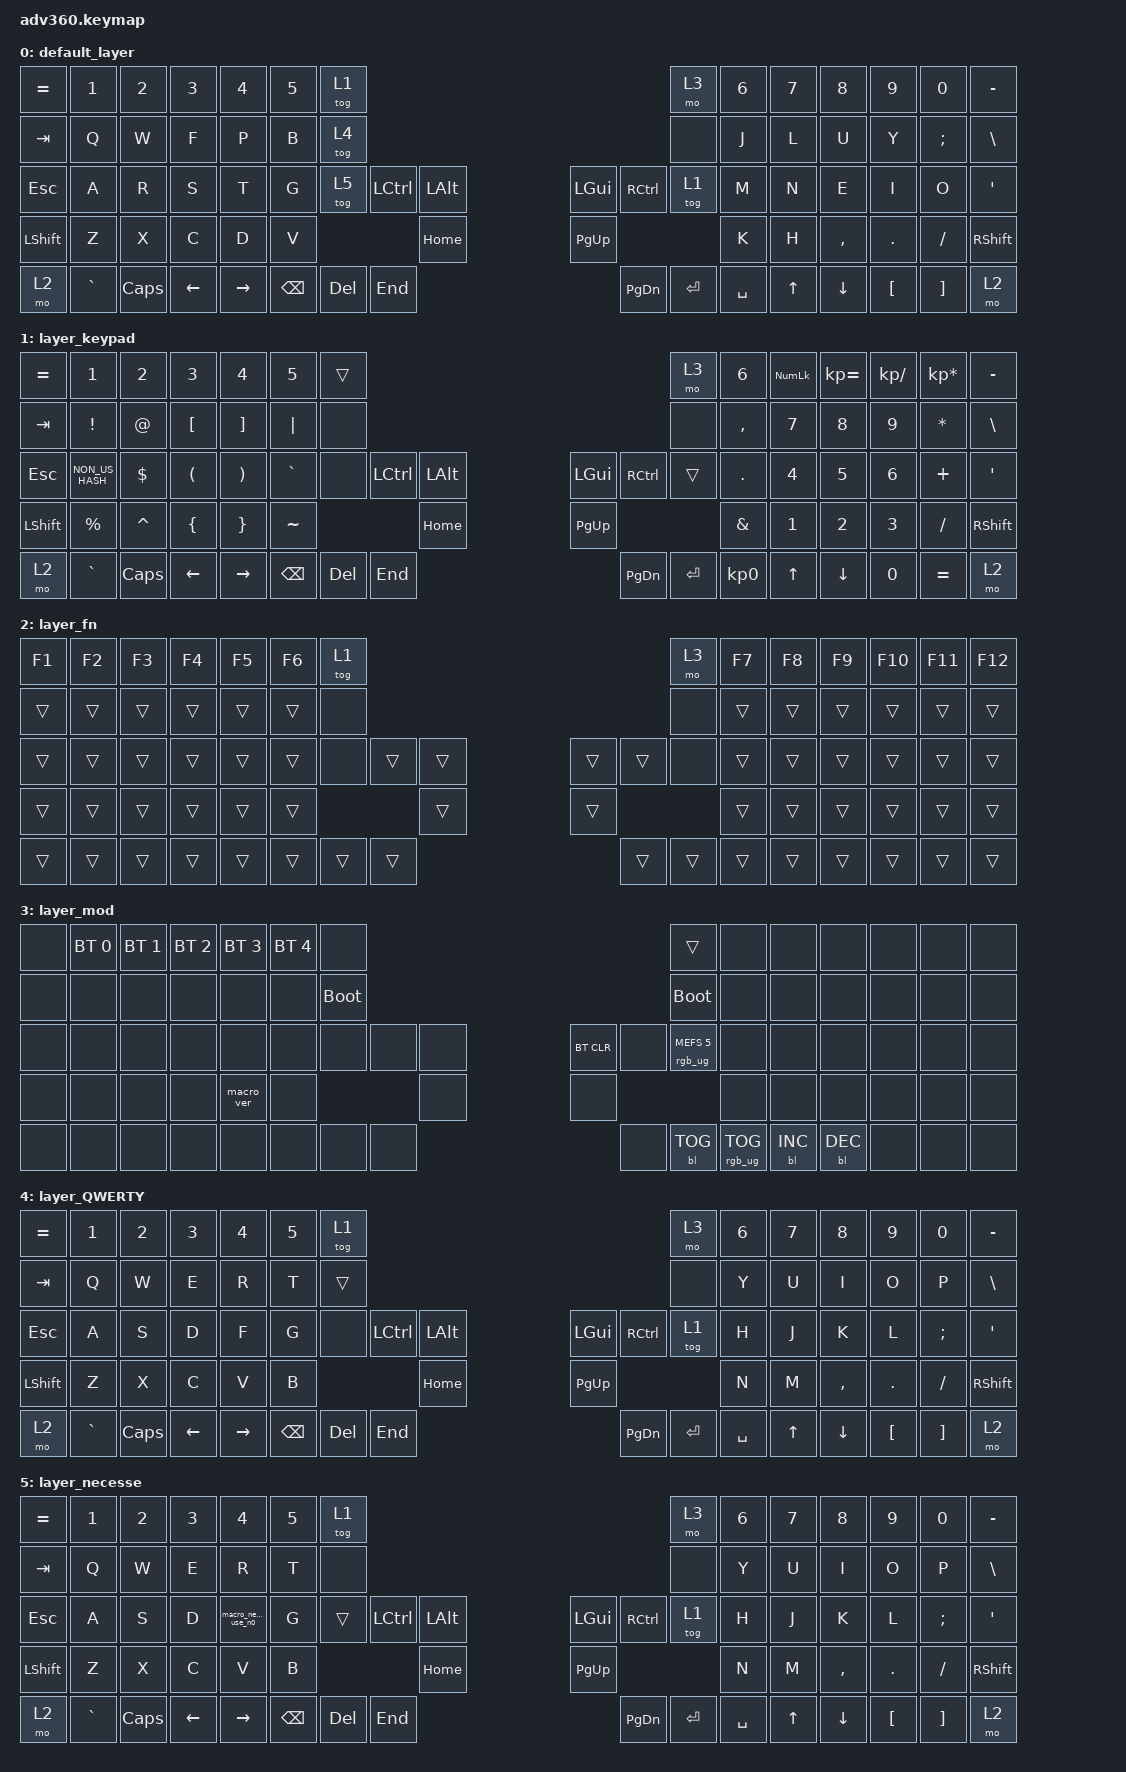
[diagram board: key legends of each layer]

/*
 * Copyright (c) 2020 The ZMK Contributors
 *
 * SPDX-License-Identifier: MIT
 */


/* THIS FILE WAS GENERATED!
 *
 * This file was generated automatically. You may or may not want to
 * edit it directly.
 */

#include <behaviors.dtsi>
#include <dt-bindings/zmk/backlight.h>
#include <dt-bindings/zmk/bt.h>
#include <dt-bindings/zmk/keys.h>
#include <dt-bindings/zmk/mouse.h>
#include <dt-bindings/zmk/rgb.h>

/ {
  behaviors {
    #include "macros.dtsi"
    #include "version.dtsi"

    hm: homerow_mods {
        compatible = "zmk,behavior-hold-tap";
        label = "HOMEROW_MODS";
        #binding-cells = <2>;
        tapping-term-ms = <200>;
        quick_tap_ms = <175>;
        flavor = "tap-preferred";
        bindings = <&kp>, <&kp>;
    };
  };

    keymap {
        compatible = "zmk,keymap";


        default_layer {
            bindings = <
 &kp EQUAL     &kp N1    &kp N2    &kp N3     &kp N4  &kp N5              &tog 1                                                                 &mo 3  &kp N6  &kp N7     &kp N8    &kp N9    &kp N0  &kp MINUS
   &kp TAB      &kp Q     &kp W     &kp F      &kp P   &kp B              &tog 4                                                                 &none   &kp J   &kp L      &kp U     &kp Y  &kp SEMI   &kp BSLH
   &kp ESC      &kp A     &kp R     &kp S      &kp T   &kp G              &tog 5  &kp LCTRL  &kp LALT                   &kp LGUI  &kp RCTRL     &tog 1   &kp M   &kp N      &kp E     &kp I     &kp O    &kp SQT
 &kp LSHFT      &kp Z     &kp X     &kp C      &kp D   &kp V                                 &kp HOME                  &kp PG_UP                         &kp K   &kp H  &kp COMMA   &kp DOT  &kp FSLH  &kp RSHFT
     &mo 2  &kp GRAVE  &kp CAPS  &kp LEFT  &kp RIGHT                    &kp BSPC    &kp DEL   &kp END                  &kp PG_DN  &kp ENTER  &kp SPACE          &kp UP   &kp DOWN  &kp LBKT  &kp RBKT      &mo 2
            >;
        };

        layer_keypad {
            bindings = <
 &kp EQUAL           &kp N1      &kp N2                &kp N3                 &kp N4     &kp N5              &trans                                                                 &mo 3         &kp N6    &kp KP_NUM    &kp KP_EQUAL  &kp KP_DIVIDE  &kp KP_MULTIPLY  &kp MINUS
   &kp TAB  &kp EXCLAMATION      &kp AT      &kp LEFT_BRACKET      &kp RIGHT_BRACKET   &kp PIPE               &none                                                                 &none      &kp COMMA  &kp NUMBER_7    &kp NUMBER_8   &kp NUMBER_9         &kp STAR   &kp BSLH
   &kp ESC  &kp NON_US_HASH  &kp DOLLAR  &kp LEFT_PARENTHESIS  &kp RIGHT_PARENTHESIS  &kp GRAVE               &none  &kp LCTRL  &kp LALT                   &kp LGUI  &kp RCTRL     &trans        &kp DOT  &kp NUMBER_4    &kp NUMBER_5   &kp NUMBER_6         &kp PLUS    &kp SQT
 &kp LSHFT      &kp PERCENT   &kp CARET        &kp LEFT_BRACE        &kp RIGHT_BRACE  &kp TILDE                                 &kp HOME                  &kp PG_UP                        &kp AMPERSAND  &kp NUMBER_1    &kp NUMBER_2   &kp NUMBER_3        &kp SLASH  &kp RSHFT
     &mo 2        &kp GRAVE    &kp CAPS              &kp LEFT              &kp RIGHT                       &kp BSPC    &kp DEL   &kp END                  &kp PG_DN  &kp ENTER  &kp KP_N0                 &kp UP_ARROW  &kp DOWN_ARROW   &kp NUMBER_0        &kp EQUAL      &mo 2
            >;
        };

        layer_fn {
            bindings = <
 &kp F1  &kp F2  &kp F3  &kp F4  &kp F5  &kp F6            &tog 1                                                   &mo 3  &kp F7  &kp F8  &kp F9  &kp F10  &kp F11  &kp F12
 &trans  &trans  &trans  &trans  &trans  &trans             &none                                                   &none  &trans  &trans  &trans   &trans   &trans   &trans
 &trans  &trans  &trans  &trans  &trans  &trans             &none  &trans  &trans                  &trans  &trans   &none  &trans  &trans  &trans   &trans   &trans   &trans
 &trans  &trans  &trans  &trans  &trans  &trans                            &trans                  &trans                  &trans  &trans  &trans   &trans   &trans   &trans
 &trans  &trans  &trans  &trans  &trans                    &trans  &trans  &trans                  &trans  &trans  &trans          &trans  &trans   &trans   &trans   &trans
            >;
        };

        layer_mod {
            bindings = <
  &none  &bt BT_SEL 0  &bt BT_SEL 1  &bt BT_SEL 2  &bt BT_SEL 3  &bt BT_SEL 4                  &none                                                                          &trans   &none       &none       &none   &none   &none   &none
  &none         &none         &none         &none         &none         &none            &bootloader                                                                     &bootloader   &none       &none       &none   &none   &none   &none
  &none         &none         &none         &none         &none         &none                  &none   &none   &none                  &bt BT_CLR       &none  &rgb_ug RGB_MEFS_CMD 5   &none       &none       &none   &none   &none   &none
  &none         &none         &none         &none    &macro_ver         &none                                  &none                       &none                                       &none       &none       &none   &none   &none   &none
  &none         &none         &none         &none         &none                                &none   &none   &none                       &none  &bl BL_TOG         &rgb_ug RGB_TOG          &bl BL_INC  &bl BL_DEC   &none   &none   &none
            >;
        };

        layer_QWERTY {
            bindings = <
 &kp EQUAL     &kp N1    &kp N2    &kp N3     &kp N4  &kp N5              &tog 1                                                                 &mo 3  &kp N6  &kp N7     &kp N8    &kp N9    &kp N0  &kp MINUS
   &kp TAB      &kp Q     &kp W     &kp E      &kp R   &kp T              &trans                                                                 &none   &kp Y   &kp U      &kp I     &kp O     &kp P   &kp BSLH
   &kp ESC      &kp A     &kp S     &kp D      &kp F   &kp G               &none  &kp LCTRL  &kp LALT                   &kp LGUI  &kp RCTRL     &tog 1   &kp H   &kp J      &kp K     &kp L  &kp SEMI    &kp SQT
 &kp LSHFT      &kp Z     &kp X     &kp C      &kp V   &kp B                                 &kp HOME                  &kp PG_UP                         &kp N   &kp M  &kp COMMA   &kp DOT  &kp FSLH  &kp RSHFT
     &mo 2  &kp GRAVE  &kp CAPS  &kp LEFT  &kp RIGHT                    &kp BSPC    &kp DEL   &kp END                  &kp PG_DN  &kp ENTER  &kp SPACE          &kp UP   &kp DOWN  &kp LBKT  &kp RBKT      &mo 2
            >;
        };

        layer_necesse {
            bindings = <
 &kp EQUAL     &kp N1    &kp N2    &kp N3                 &kp N4  &kp N5              &tog 1                                                                 &mo 3  &kp N6  &kp N7     &kp N8    &kp N9    &kp N0  &kp MINUS
   &kp TAB      &kp Q     &kp W     &kp E                  &kp R   &kp T               &none                                                                 &none   &kp Y   &kp U      &kp I     &kp O     &kp P   &kp BSLH
   &kp ESC      &kp A     &kp S     &kp D  &macro_necesse_use_n0   &kp G              &trans  &kp LCTRL  &kp LALT                   &kp LGUI  &kp RCTRL     &tog 1   &kp H   &kp J      &kp K     &kp L  &kp SEMI    &kp SQT
 &kp LSHFT      &kp Z     &kp X     &kp C                  &kp V   &kp B                                 &kp HOME                  &kp PG_UP                         &kp N   &kp M  &kp COMMA   &kp DOT  &kp FSLH  &kp RSHFT
     &mo 2  &kp GRAVE  &kp CAPS  &kp LEFT              &kp RIGHT                    &kp BSPC    &kp DEL   &kp END                  &kp PG_DN  &kp ENTER  &kp SPACE          &kp UP   &kp DOWN  &kp LBKT  &kp RBKT      &mo 2
            >;
        };

    };
};
